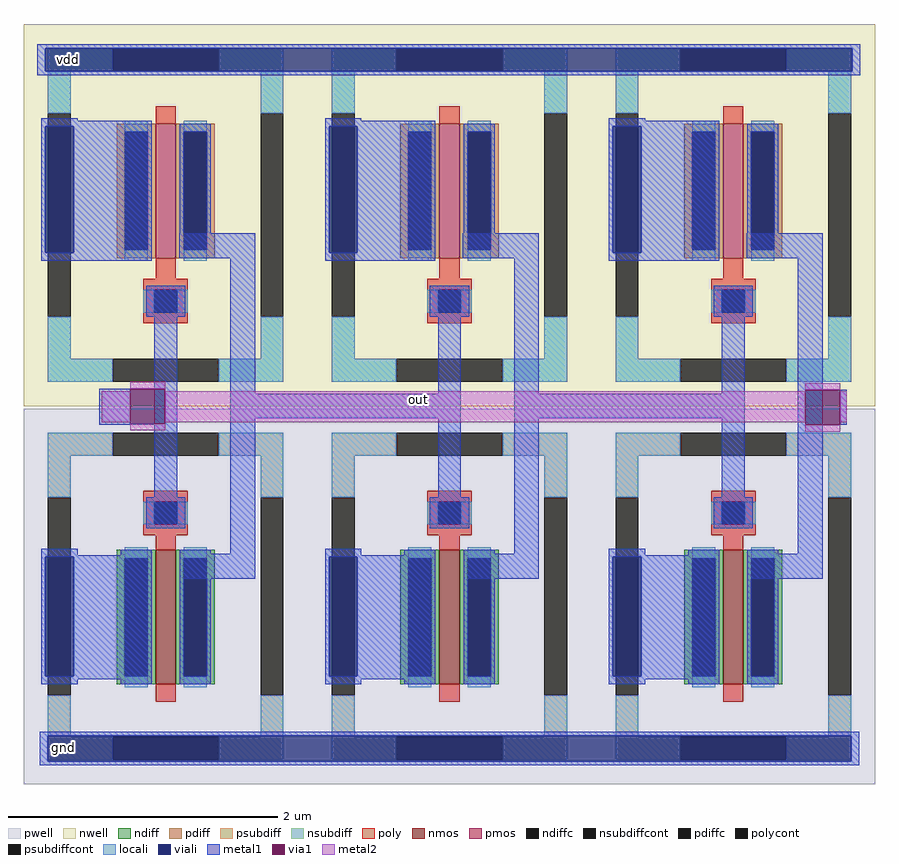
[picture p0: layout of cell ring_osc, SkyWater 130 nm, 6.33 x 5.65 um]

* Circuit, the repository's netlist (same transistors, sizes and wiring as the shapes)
** sch_path: /home/raphael03/MSIB/Inverter/ring_osc.sch
.subckt ring_osc vdd out gnd
*.PININFO out:O vdd:B gnd:B
x1 vdd net1 out gnd inverter
x2 vdd net2 net1 gnd inverter
x3 vdd out net2 gnd inverter
.ends

* expanding   symbol:  inverter.sym # of pins=4
** sym_path: /home/raphael03/MSIB/Inverter/inverter.sym
** sch_path: /home/raphael03/MSIB/Inverter/inverter.sch
.subckt inverter vdd out in gnd
*.PININFO in:I out:O vdd:I gnd:I
XM1 out in vdd vdd sky130_fd_pr__pfet_01v8 L=0.15 W=1 nf=1 m=1
XM2 out in gnd gnd sky130_fd_pr__nfet_01v8 L=0.15 W=1 nf=1 m=1
.ends

.end

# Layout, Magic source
magic
tech sky130A
<< viali >>
rect 16 530 616 547
rect 18 17 615 36
<< metal1 >>
rect 10 547 622 550
rect 10 530 16 547
rect 616 530 622 547
rect 10 527 622 530
rect 56 268 79 294
rect 105 268 113 294
rect 156 272 322 290
rect 365 272 536 290
rect 56 267 113 268
rect 576 267 581 293
rect 607 267 612 293
rect 12 36 621 39
rect 12 17 18 36
rect 615 17 621 36
rect 12 14 621 17
<< via1 >>
rect 79 268 105 294
rect 581 267 607 293
<< metal2 >>
rect 79 294 105 299
rect 58 269 79 292
rect 581 293 607 298
rect 105 269 581 292
rect 79 263 105 268
rect 607 269 612 292
rect 581 262 607 267
use inverter  x1
transform 1 0 292 0 1 -140
box -292 140 -81 705
use inverter  x2
transform 1 0 503 0 1 -140
box -292 140 -81 705
use inverter  x3
transform 1 0 714 0 1 -140
box -292 140 -81 705
<< labels >>
flabel viali 31 538 36 539 0 FreeSans 160 0 0 0 vdd
port 1 nsew
flabel viali 27 27 32 28 0 FreeSans 160 0 0 0 gnd
port 2 nsew
flabel metal2 291 285 296 286 0 FreeSans 160 0 0 0 out
port 3 nsew
<< end >>

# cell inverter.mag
magic
tech sky130A
magscale 1 2
<< viali >>
rect -552 1070 -510 1258
rect -552 440 -510 618
<< metal1 >>
rect -558 1266 -504 1270
rect -558 1258 -394 1266
rect -558 1070 -552 1258
rect -510 1070 -394 1258
rect -558 1058 -394 1070
rect -353 1062 -240 1099
rect -390 666 -356 1016
rect -558 620 -504 630
rect -277 622 -240 1062
rect -558 618 -398 620
rect -558 440 -552 618
rect -510 440 -398 618
rect -347 585 -240 622
rect -558 436 -398 440
rect -558 428 -504 436
use sky130_fd_pr__pfet_01v8_LGS3BL  XM1
transform 1 0 -373 0 1 1126
box -211 -284 211 284
use sky130_fd_pr__nfet_01v8_64Z3AY  XM2
transform 1 0 -373 0 1 559
box -211 -279 211 279
<< labels >>
flabel metal1 -488 546 -482 554 0 FreeSans 160 0 0 0 gnd
port 2 nsew
flabel metal1 -486 1190 -480 1198 0 FreeSans 160 0 0 0 vdd
port 3 nsew
flabel metal1 -262 748 -256 756 0 FreeSans 160 0 0 0 out
port 4 nsew
flabel metal1 -377 744 -371 752 0 FreeSans 160 0 0 0 in
port 5 nsew
<< end >>

# cell sky130_fd_pr__pfet_01v8_LGS3BL: kit device sky130_fd_pr__pfet_01v8, w 1.0 l 0.15 m 1 nf 1 diffcov 100 polycov 100 guard 1 glc 1 grc 1 gtc 1 gbc 1 tbcov 100 rlcov 100 topc 0 botc 1 poverlap 0 doverlap 1 lmin 0.15 wmin 0.42 compatible {sky130_fd_pr__pfet_01v8 sky130_fd_pr__pfet_01v8_lvt sky130_fd_pr__pfet_01v8_hvt sky130_fd_pr__pfet_g5v0d10v5} full_metal 1 viasrc 100 viadrn 100 viagate 100 viagb 0 viagr 0 viagl 0 viagt 0

# cell sky130_fd_pr__nfet_01v8_64Z3AY: kit device sky130_fd_pr__nfet_01v8, w 1.0 l 0.15 m 1 nf 1 diffcov 100 polycov 100 guard 1 glc 1 grc 1 gtc 1 gbc 1 tbcov 100 rlcov 100 topc 1 botc 0 poverlap 0 doverlap 1 lmin 0.15 wmin 0.42 compatible {sky130_fd_pr__nfet_01v8 sky130_fd_pr__nfet_01v8_lvt sky130_fd_bs_flash__special_sonosfet_star sky130_fd_pr__nfet_g5v0d10v5 sky130_fd_pr__nfet_05v0_nvt sky130_fd_pr__nfet_03v3_nvt} full_metal 1 viasrc 100 viadrn 100 viagate 100 viagb 0 viagr 0 viagl 0 viagt 0
